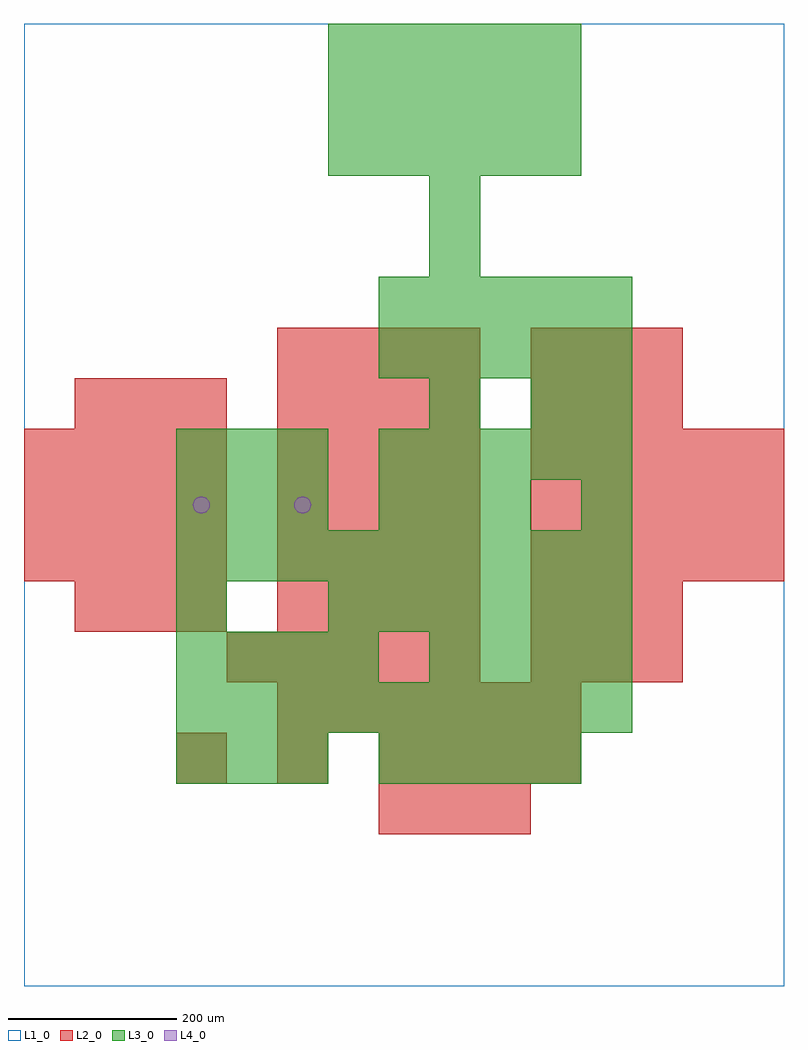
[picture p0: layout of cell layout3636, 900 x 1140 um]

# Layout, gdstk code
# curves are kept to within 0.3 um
import gdstk
lib = gdstk.Library(unit=1e-6, precision=1e-09)
def R(c, l, rs):  # rectangles x0, y0, x1, y1
    for r in rs: c.add(gdstk.rectangle(r[:2], r[2:], *l))
def A(c, l, x, y, w, h, nx, ny, dx, dy):  # array of equal rectangles
    R(c, l, [(x+i*dx, y+j*dy, x+i*dx+w, y+j*dy+h) for i in range(nx) for j in range(ny)])
def P(c, l, *ps):  # polygons
    for p in ps: c.add(gdstk.Polygon(p, *l))
L1_0 = (1, 0)
L2_0 = (2, 0)
L3_0 = (3, 0)
L4_0 = (4, 0)

layout3636 = lib.new_cell('layout3636')
R(layout3636, L1_0, [(0,0,900,1140)])
A(layout3636, L2_0, 420, 180, 60, 60, 3, 1, 60, 0)
A(layout3636, L2_0, 180, 240, 60, 60, 3, 1, 120, 0)
A(layout3636, L2_0, 480, 240, 60, 60, 3, 1, 60, 0)
A(layout3636, L2_0, 300, 300, 60, 60, 6, 1, 60, 0)
A(layout3636, L2_0, 240, 360, 60, 60, 5, 1, 60, 0)
A(layout3636, L2_0, 600, 360, 60, 60, 3, 2, 60, 60)
A(layout3636, L2_0, 60, 420, 60, 60, 3, 2, 60, 240)
A(layout3636, L2_0, 300, 420, 60, 60, 4, 6, 60, 60)
A(layout3636, L2_0, 0, 480, 60, 60, 4, 3, 60, 60)
A(layout3636, L2_0, 600, 480, 60, 60, 5, 3, 60, 60)
A(layout3636, L2_0, 600, 660, 60, 60, 3, 2, 60, 60)
A(layout3636, L3_0, 180, 240, 60, 60, 3, 2, 60, 300)
A(layout3636, L3_0, 420, 240, 60, 60, 4, 1, 60, 0)
A(layout3636, L3_0, 180, 300, 60, 60, 9, 2, 60, 180)
A(layout3636, L3_0, 180, 360, 60, 60, 4, 1, 60, 0)
A(layout3636, L3_0, 480, 360, 60, 60, 4, 1, 60, 0)
A(layout3636, L3_0, 360, 420, 60, 60, 6, 1, 60, 0)
A(layout3636, L3_0, 420, 540, 60, 60, 3, 1, 60, 0)
A(layout3636, L3_0, 180, 600, 60, 60, 3, 1, 60, 0)
A(layout3636, L3_0, 420, 600, 60, 60, 5, 2, 60, 120)
A(layout3636, L3_0, 420, 780, 60, 60, 5, 1, 60, 0)
A(layout3636, L3_0, 360, 960, 60, 60, 5, 3, 60, 60)
R(layout3636, L3_0, [(180,420,240,480), (660,540,720,600), (480,660,540,720), (600,660,660,720), (660,660,720,720), (480,840,540,900), (480,900,540,960)])
P(layout3636, L4_0, [(220,570),(219.239,573.827),(217.071,577.071),(213.827,579.239),(210,580),(206.173,579.239),(202.929,577.071),(200.761,573.827),(200,570),(200.761,566.173),(202.929,562.929),(206.173,560.761),(210,560),(213.827,560.761),(217.071,562.929),(219.239,566.173)],
  [(340,570),(339.239,573.827),(337.071,577.071),(333.827,579.239),(330,580),(326.173,579.239),(322.929,577.071),(320.761,573.827),(320,570),(320.761,566.173),(322.929,562.929),(326.173,560.761),(330,560),(333.827,560.761),(337.071,562.929),(339.239,566.173)])

lib.write_gds('layout3636.gds')
